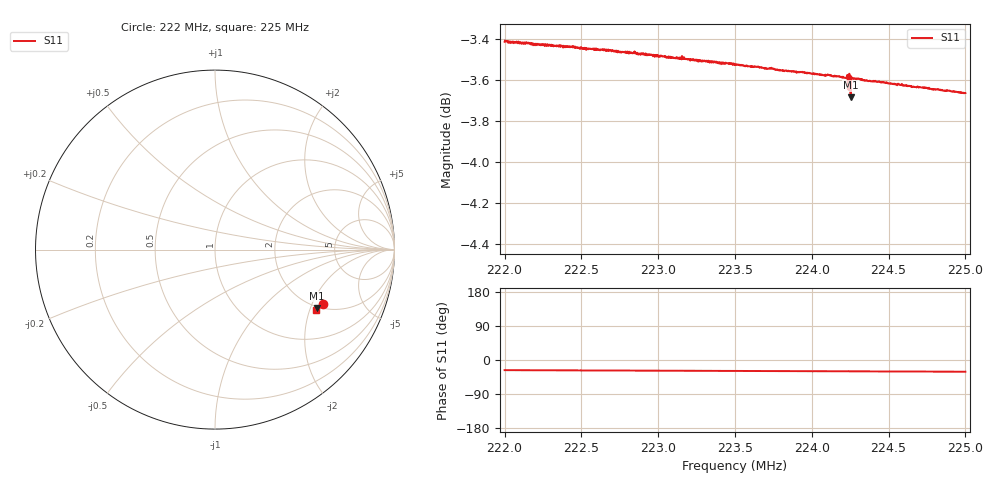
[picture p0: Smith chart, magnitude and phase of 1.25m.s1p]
! Calibrated averaged scanner-service zoom
# Hz S RI R 50
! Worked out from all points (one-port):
!   1001 points, 222 MHz to 225 MHz, reference 50 ohm
!   lowest |S11| = -3.7 dB at 224.25 MHz (marker M1), VSWR 4.78, Z = 97.8 - j111 ohm
!   |S11| at or under -10 dB: nowhere
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2.22e8  0.6026 -0.3039
2.22375e8  0.5983 -0.3088
2.2275e8  0.5934 -0.3137
2.22933e8  0.591 -0.3155
2.23125e8  0.5886 -0.3179
2.235e8  0.5835 -0.3222
2.23875e8  0.5784 -0.326
2.24043e8  0.5763 -0.3271
2.24115e8  0.5754 -0.3282
2.24199e8  0.5737 -0.3294
2.24217e8  0.5738 -0.3288
2.2422e8  0.5736 -0.3291
2.24223e8  0.5736 -0.3295
2.24226e8  0.5735 -0.3296
2.24229e8  0.5737 -0.3293
2.24235e8  0.5719 -0.324
2.24238e8  0.5733 -0.3296
2.2425e8  0.5733 -0.3298
2.24253e8  0.5678 -0.3249
2.24256e8  0.5738 -0.3302
2.24259e8  0.5731 -0.3297
2.24262e8  0.573 -0.33
2.24268e8  0.5732 -0.3293
2.24271e8  0.5729 -0.3297
2.24313e8  0.5723 -0.3308
2.24355e8  0.572 -0.3302
2.24625e8  0.568 -0.3332
2.25e8  0.5626 -0.337
